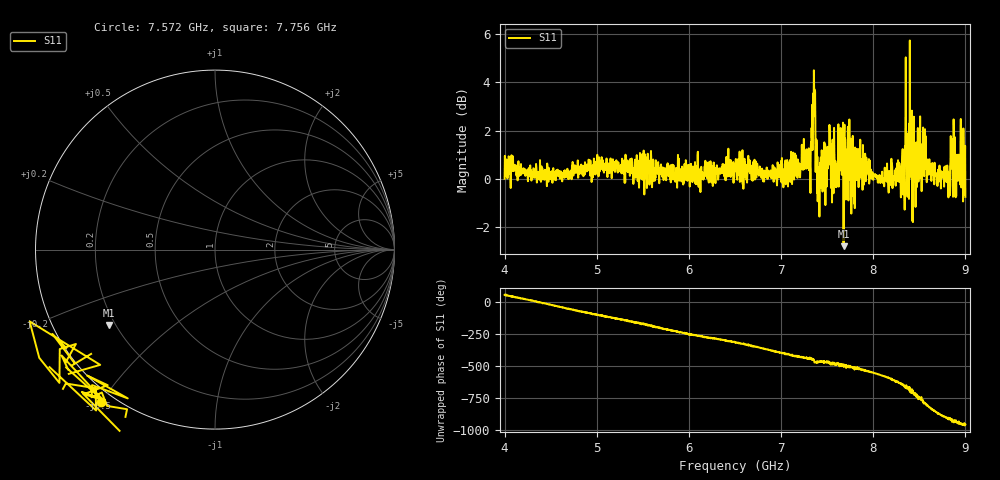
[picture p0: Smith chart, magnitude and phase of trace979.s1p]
! Created with skrf 1.8.0 (http://scikit-rf.org).
# Hz S RI R 50.0
!freq ReS11 ImS11
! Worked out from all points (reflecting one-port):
!   1601 points, 4 GHz to 9 GHz, reference 50 ohm
!   lowest |S11| = -2.8 dB at 7.678 GHz (marker M1), VSWR 6.27, Z = 8.76 - j15.5 ohm
!   phase of S11 starts at 52 deg and turns -1012 deg over the sweep
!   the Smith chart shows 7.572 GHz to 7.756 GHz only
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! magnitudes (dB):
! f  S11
! 4 GHz  0.0
! 4.625 GHz  -0.1
! 5.25 GHz  0.4
! 5.875 GHz  0.5
! 6.5 GHz  0.5
! 7.125 GHz  0.3
! 7.297 GHz  0.9
! 7.316 GHz  0.4
! 7.347 GHz  3.2
! 7.369 GHz  3.6
! 7.397 GHz  -0.9
! 7.412 GHz  0.5
! 7.512 GHz  1.3
! 7.591 GHz  0.7
! 7.678 GHz  -2.8
! 7.75 GHz  0.2
! 8.316 GHz  0.9
! 8.334 GHz  0.1
! 8.347 GHz  0.9
! 8.375 GHz  1.9
! 8.447 GHz  1.4
! 8.519 GHz  1.4
! 8.606 GHz  0.3
! 8.806 GHz  0.2
! 8.859 GHz  1.0
! 8.912 GHz  0.9
! 8.972 GHz  0.7
! 9 GHz  -0.7
